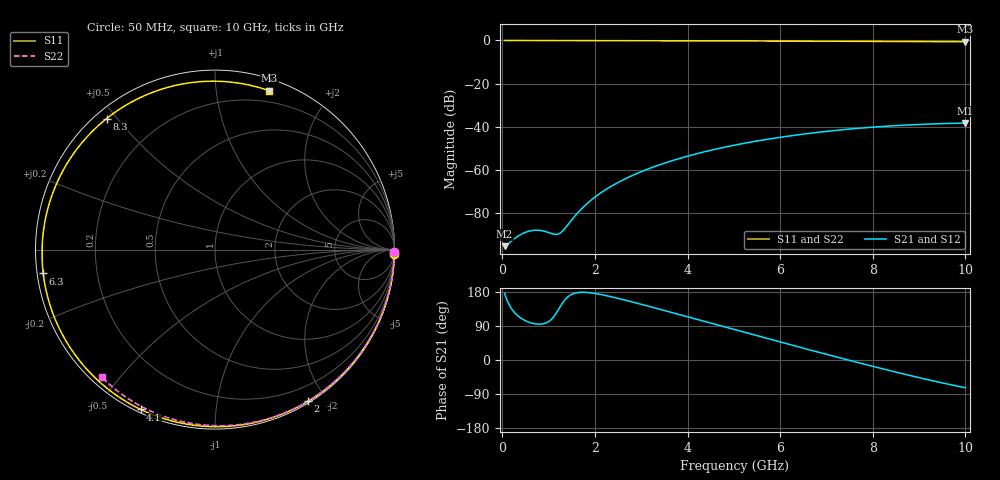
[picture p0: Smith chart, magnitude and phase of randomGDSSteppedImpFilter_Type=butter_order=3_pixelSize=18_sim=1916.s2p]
! freq	dB(S11)	phase(S11)	dB(S12)	phase(S12)
!  dB(S21)	phase(S21)	dB(S22)	phase(S22)
!S-par simulation data
#  GHz  S  DB  R 50
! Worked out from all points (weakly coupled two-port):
!   200 points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, 50 MHz to 10 GHz, reference 50 ohm
!   highest |S21| = -38.21 dB at 10 GHz (marker M1); lowest = -95.2 dB at 50 MHz (marker M2)
!   lowest |S11| = -0.6 dB at 10 GHz (marker M3), VSWR 29.86, Z = 4.95 + j69.8 ohm
!   |S11| at or under -10 dB: nowhere
!   |S22| runs from -0.4 to 0.0 dB; largest |S21 - S12| = 0
!   S11 on the Smith chart (normalised r, x): 50 MHz: 0, -76; 2 GHz: 0.02, -1.79; 4.1 GHz: 0.01, -0.64; 6.3 GHz: 0.02, -0.07; 8.3 GHz: 0.03, +0.47; 10 GHz: 0.10, +1.40
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0.05  -0.00 -1.5  -95.19 176.2  -95.19 176.2  -0.00 -0.8
0.8  -0.03 -23.9  -87.86 94.5  -87.86 94.5  -0.01 -12.1
1.6  -0.06 -47.1  -80.46 177.3  -80.46 177.3  -0.03 -24.1
1.75  -0.06 -51.4  -77.08 178.8  -77.08 178.8  -0.03 -26.3
2  -0.07 -58.5  -72.48 175.7  -72.48 175.7  -0.04 -29.9
2.3  -0.08 -66.9  -68.13 168.4  -68.13 168.4  -0.04 -34.3
2.6  -0.10 -75.1  -64.60 159.6  -64.60 159.6  -0.05 -38.6
3.4  -0.13 -96.6  -57.51 133.9  -57.51 133.9  -0.07 -50.0
4.1  -0.16 -114.9  -52.97 110.7  -52.97 110.7  -0.08 -59.7
5.05  -0.21 -139.4  -48.30 78.9  -48.30 78.9  -0.11 -72.3
5.7  -0.25 -156.2  -45.81 57.3  -45.81 57.3  -0.13 -80.7
6.3  -0.30 -172.1  -43.90 37.6  -43.90 37.6  -0.16 -88.3
6.7  -0.33 177.0  -42.80 24.6  -42.80 24.6  -0.18 -93.2
7.1  -0.36 165.8  -41.84 11.7  -41.84 11.7  -0.20 -98.0
7.5  -0.40 154.2  -41.00 -1.0  -41.00 -1.0  -0.23 -102.8
7.9  -0.43 142.2  -40.27 -13.6  -40.27 -13.6  -0.25 -107.5
8.3  -0.47 129.6  -39.67 -25.9  -39.67 -25.9  -0.28 -112.2
8.35  -0.47 128.0  -39.60 -27.5  -39.60 -27.5  -0.29 -112.8
8.8  -0.51 113.2  -39.06 -40.9  -39.06 -40.9  -0.33 -117.9
9.2  -0.54 99.5  -38.70 -52.3  -38.70 -52.3  -0.36 -122.5
9.6  -0.56 85.5  -38.42 -63.1  -38.42 -63.1  -0.40 -127.0
10  -0.58 71.1  -38.21 -73.1  -38.21 -73.1  -0.44 -131.5
